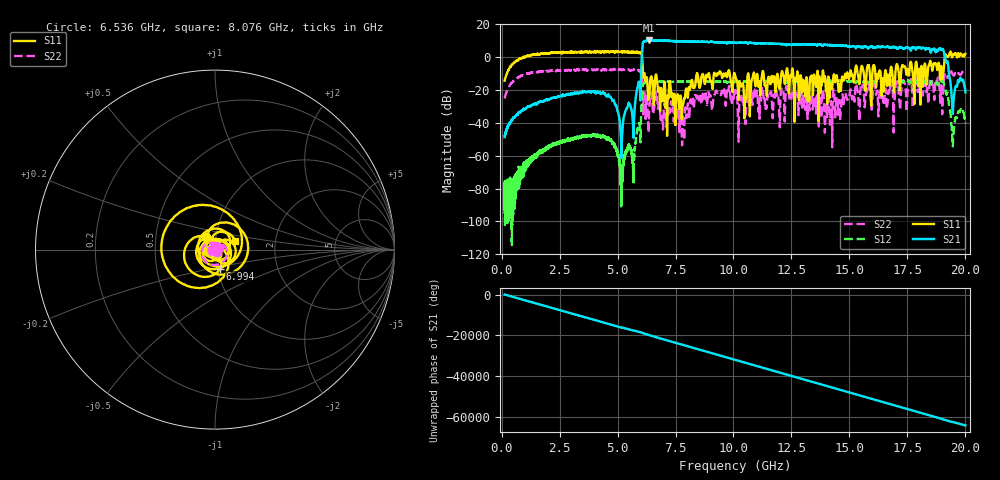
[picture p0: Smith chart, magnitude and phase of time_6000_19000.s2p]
!Created with skrf (http://scikit-rf.org).
# GHz S RI R 50.0
!freq ReS11 ImS11 ReS21 ImS21 ReS12 ImS12 ReS22 ImS22
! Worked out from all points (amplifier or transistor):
!   20013 points, 130 MHz to 20 GHz, reference 50 ohm
!   highest |S21| = 10.2 dB at 6.357 GHz (marker M1)
!   |S21| within 3 dB of that: 6.079 GHz to 12.27 GHz (6.193 GHz wide, 67.5 % of centre)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
!   unconditionally stable (mu >= 1): start of sweep to 926.4 MHz; 6.068 GHz to 19.1 GHz; 19.63342 GHz to 19.64528 GHz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
!   at 3.465 GHz: K = -1299.72, MSG = 13.3 dB, |S12| = -48.3 dB
!   at 10.14 GHz: K = 1.24, MAG = 8.9 dB, |S12| = -15.0 dB
!   at 20 GHz: K = -353.95, MSG = 9.5 dB, |S12| = -40.4 dB
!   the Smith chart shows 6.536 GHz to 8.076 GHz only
!   S11 on the Smith chart (normalised r, x): 6.536 GHz: 0.90, +0.13; 6.994 GHz: 1.03, -0.23; 8.076 GHz: 1.25, +0.12
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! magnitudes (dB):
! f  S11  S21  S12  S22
! 130 MHz  -14.3  -48.7  -77.3  -25.2
! 1.025 GHz  0.5  -31.3  -66.0  -10.5
! 3.442 GHz  3.4  -21.5  -48.5  -8.2
! 4.672 GHz  3.3  -24.1  -50.3  -7.9
! 5.182 GHz  3.4  -53.8  -79.9  -7.8
! 5.437 GHz  2.8  -30.0  -55.9  -7.8
! 5.704 GHz  3.3  -40.8  -65.6  -7.6
! 6.133 GHz  -10.1  9.4  -15.8  -21.4
! 6.357 GHz  -24.6  10.2  -15.0  -33.6
! 6.536 GHz  -21.4  10.1  -15.0  -34.5
! 6.754 GHz  -21.1  10.0  -15.0  -30.8
! 6.994 GHz  -19.1  10.0  -15.0  -31.3
! 8.076 GHz  -18.2  9.7  -14.8  -34.0
! 10.06 GHz  -10.9  8.8  -15.0  -19.3
! 10.48 GHz  -30.3  8.9  -14.6  -34.6
! 10.94 GHz  -16.9  8.5  -14.9  -19.2
! 13.38 GHz  -11.1  7.6  -14.4  -22.6
! 16.69 GHz  -12.8  6.1  -14.5  -20.1
! 18.96 GHz  -5.5  4.6  -15.0  -17.2
! 19.45 GHz  1.0  -33.9  -53.3  -10.3
! 19.75 GHz  1.0  -14.0  -33.2  -10.6
! 20 GHz  2.2  -21.4  -40.4  -9.8
